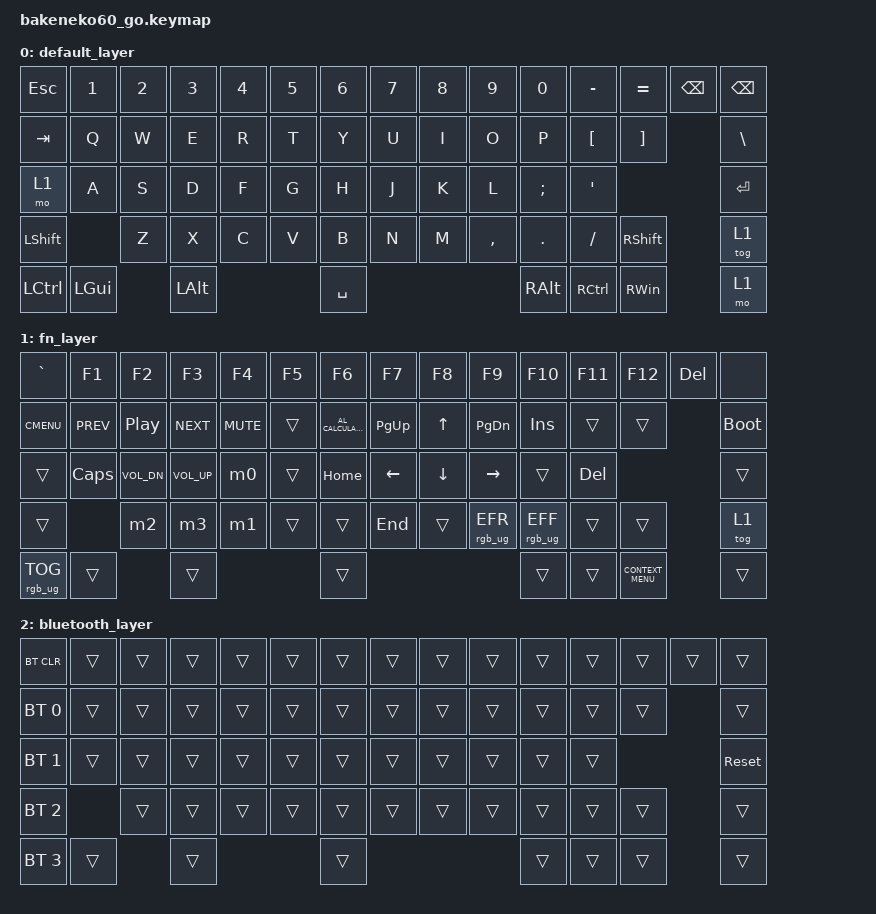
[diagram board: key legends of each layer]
/*
 * Copyright (c) 2023 Andrew Kannan
 *
 * SPDX-License-Identifier: MIT
 */

#include <behaviors.dtsi>
#include <dt-bindings/zmk/bt.h>
#include <dt-bindings/zmk/keys.h>
#include <dt-bindings/zmk/rgb.h>

/ {
    macros {
        m0: m0 {
            compatible = "zmk,behavior-macro";
            #binding-cells = <0>;
            bindings = <&kp LC(LS(H))>;
            label = "M0";
        };

        m1: m1 {
            compatible = "zmk,behavior-macro";
            #binding-cells = <0>;
            bindings = <&kp RA(ENTER)>;
            label = "M1";
        };

        m2: m2 {
            compatible = "zmk,behavior-macro";
            #binding-cells = <0>;
            bindings = <&kp LA(PAGE_UP)>;
            label = "M2";
        };

        m3: m3 {
            compatible = "zmk,behavior-macro";
            #binding-cells = <0>;
            bindings = <&kp LA(PAGE_DOWN)>;
            label = "M3";
        };
    };

    keymap {
        compatible = "zmk,keymap";

        default_layer {
            // ------------------------------------------------------------------------------------------
            // | ESC |  1  |  2  |  3  |  4  |  5  |  6  |  7  |  8  |  9  |  0  |  -  |  =  | BKSP|BKSP|
            // | TAB  |  Q  |  W  |  E  |  R  |  T  |  Y  |  U  |  I  |  O  |  P  |  [  |  ]  |   "|"   |
            // | CAPS  |  A  |  S  |  D  |  F  |  G  |  H  |  J  |  K  |  L  |  ;  |  '  |     ENTER    |
            // |  SHIFT  |  Z  |  X  |  C  |  V  |  B  |  N  |  M  |  ,  |  .  |  /  |  SHIFT  | MO(1)  |
            // |  CTL  |  WIN  |  ALT  |            SPACE              |  ALT  |  WIN  |  MO(1) |  CTL  |
            // ------------------------------------------------------------------------------------------

            bindings = <
&kp ESCAPE  &kp N1    &kp N2  &kp N3    &kp N4  &kp N5  &kp N6     &kp N7  &kp N8  &kp N9     &kp N0    &kp MINUS          &kp EQUAL      &kp BACKSPACE  &kp BACKSPACE
&kp TAB     &kp Q     &kp W   &kp E     &kp R   &kp T   &kp Y      &kp U   &kp I   &kp O      &kp P     &kp LBKT           &kp RBKT                      &kp BACKSLASH
&mo 1       &kp A     &kp S   &kp D     &kp F   &kp G   &kp H      &kp J   &kp K   &kp L      &kp SEMI  &kp SQT                                          &kp RET
&kp LSHFT             &kp Z   &kp X     &kp C   &kp V   &kp B      &kp N   &kp M   &kp COMMA  &kp DOT   &kp FSLH           &kp RSHFT                     &tog 1
&kp LCTRL   &kp LGUI          &kp LALT                  &kp SPACE                             &kp RALT  &kp RIGHT_CONTROL  &kp RIGHT_WIN                 &mo 1
            >;
        };

        fn_layer {
            // ------------------------------------------------------------------------------------------------
            // |    `   | F1  | F2  | F3  | F4  | F5  | F6  | F7  | F8  | F9  | F10  | F11 | F12 |     | DEL  |
            // | EFCT REV|   |  UP |   | HUEUP | SATUP | BRIUP | SPDUP |      |  PGUP |    |     |    |       |
            // | EFCT FWD | LT |  DN  | RT | HUEDN | SATDN | BRIDN | SPDDN | HOME | PGDN | END  |  | BOOTLDR  |
            // |             |     |      |      |     |     |     |     |     |     |     |         |        |
            // |         |      |      |             TOG RGB                | PRT SCR |       |       |  MO(2)|
            // ------------------------------------------------------------------------------------------------

            bindings = <
&kp GRAVE        &kp F1        &kp F2            &kp F3        &kp F4      &kp F5  &kp F6               &kp F7          &kp F8          &kp F9           &kp F10          &kp F11  &kp F12             &kp DEL  &none
&kp K_CMENU      &kp C_PREV    &kp C_PLAY_PAUSE  &kp C_NEXT    &kp K_MUTE  &trans  &kp C_AL_CALCULATOR  &kp PG_UP       &kp UP_ARROW    &kp PAGE_DOWN    &kp INS          &trans   &trans                       &bootloader
&trans           &kp CAPSLOCK  &kp C_VOL_DN      &kp C_VOL_UP  &m0         &trans  &kp HOME             &kp LEFT_ARROW  &kp DOWN_ARROW  &kp RIGHT_ARROW  &trans           &kp DEL                               &trans
&trans                         &m2               &m3           &m1         &trans  &trans               &kp END         &trans          &rgb_ug RGB_EFR  &rgb_ug RGB_EFF  &trans   &trans                       &tog 1
&rgb_ug RGB_TOG  &trans                          &trans                            &trans                                                                &trans           &trans   &kp K_CONTEXT_MENU           &trans
            >;
        };

        bluetooth_layer {
            // ------------------------------------------------------------------------------------------------
            // | BT CLR |     |     |     |     |     |     |     |     |     |     |    |    |       |       |
            // |  BT 1   |   |     |   |       |       |       |       |   |     |    |     |     |           |
            // |   BT 2   |    |      |    |       |       |       |       |      |      |      |  |   Reset  |
            // |    BT 3     |     |      |      |     |     |     |     |     |     |     |         |        |
            // |   BT 4  |      |      |                                    |         |       |       |       |
            // ------------------------------------------------------------------------------------------------

            bindings = <
&bt BT_CLR    &trans  &trans  &trans  &trans  &trans  &trans  &trans  &trans  &trans  &trans  &trans  &trans  &trans  &trans
&bt BT_SEL 0  &trans  &trans  &trans  &trans  &trans  &trans  &trans  &trans  &trans  &trans  &trans  &trans          &trans
&bt BT_SEL 1  &trans  &trans  &trans  &trans  &trans  &trans  &trans  &trans  &trans  &trans  &trans                  &sys_reset
&bt BT_SEL 2          &trans  &trans  &trans  &trans  &trans  &trans  &trans  &trans  &trans  &trans  &trans          &trans
&bt BT_SEL 3  &trans          &trans                  &trans                          &trans  &trans  &trans          &trans
            >;
        };
    };

    combos {
        compatible = "zmk,combos";

        combo_bt {
            timeout-ms = <50>;
            key-positions = <61 62>;
            bindings = <&mo 2>;
        };
    };
};
